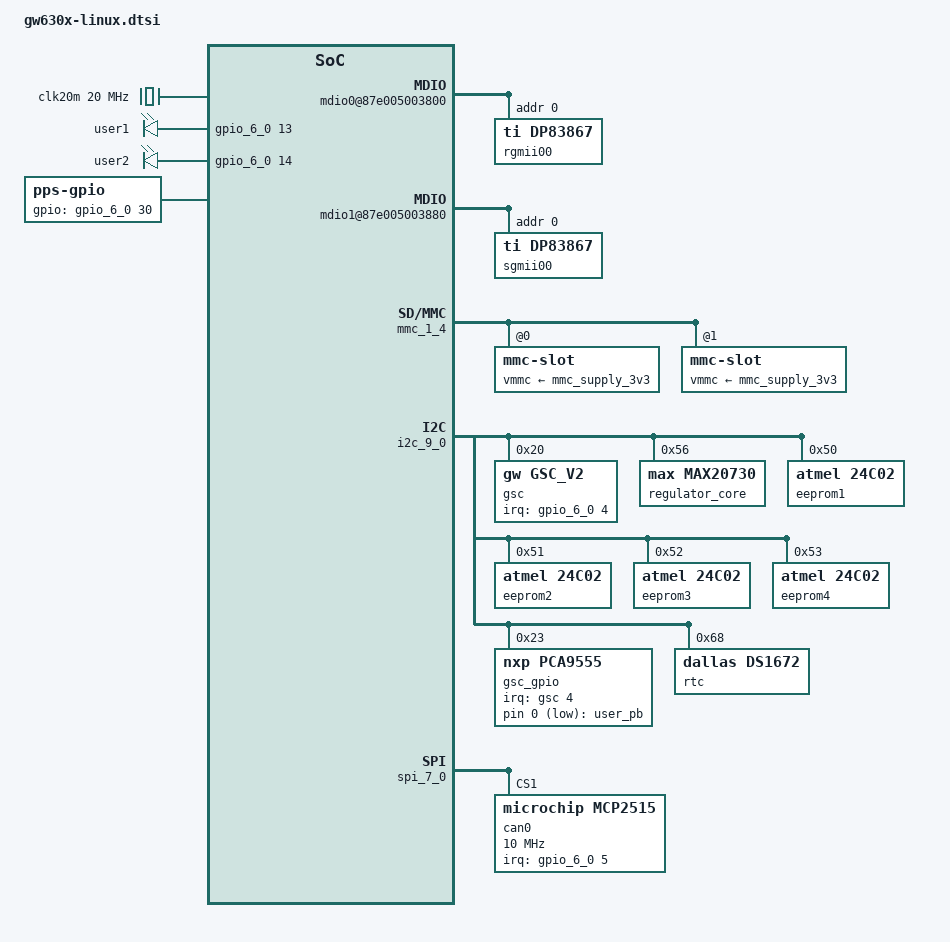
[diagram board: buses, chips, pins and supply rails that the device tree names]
/*
 * Copyright 2017 Gateworks Corporation
 *
 * This file is dual-licensed: you can use it either under the terms
 * of the GPL or the X11 license, at your option. Note that this dual
 * licensing only applies to this file, and not this project as a
 * whole.
 *
 *  a) This library is free software; you can redistribute it and/or
 *     modify it under the terms of the GNU General Public License as
 *     published by the Free Software Foundation; either version 2 of the
 *     License, or (at your option) any later version.
 *
 *     This library is distributed in the hope that it will be useful,
 *     but WITHOUT ANY WARRANTY; without even the implied warranty of
 *     MERCHANTABILITY or FITNESS FOR A PARTICULAR PURPOSE.  See the
 *     GNU General Public License for more details.
 *
 *     You should have received a copy of the GNU General Public
 *     License along with this library; if not, write to the Free
 *     Software Foundation, Inc., 51 Franklin St, Fifth Floor, Boston,
 *     MA 02110-1301 USA
 *
 * Or, alternatively,
 *
 *  b) Permission is hereby granted, free of charge, to any person
 *     obtaining a copy of this software and associated documentation
 *     files (the "Software"), to deal in the Software without
 *     restriction, including without limitation the rights to use,
 *     copy, modify, merge, publish, distribute, sublicense, and/or
 *     sell copies of the Software, and to permit persons to whom the
 *     Software is furnished to do so, subject to the following
 *     conditions:
 *
 *     The above copyright notice and this permission notice shall be
 *     included in all copies or substantial portions of the Software.
 *
 *     THE SOFTWARE IS PROVIDED "AS IS", WITHOUT WARRANTY OF ANY KIND,
 *     EXPRESS OR IMPLIED, INCLUDING BUT NOT LIMITED TO THE WARRANTIES
 *     OF MERCHANTABILITY, FITNESS FOR A PARTICULAR PURPOSE AND
 *     NONINFRINGEMENT. IN NO EVENT SHALL THE AUTHORS OR COPYRIGHT
 *     HOLDERS BE LIABLE FOR ANY CLAIM, DAMAGES OR OTHER LIABILITY,
 *     WHETHER IN AN ACTION OF CONTRACT, TORT OR OTHERWISE, ARISING
 *     FROM, OUT OF OR IN CONNECTION WITH THE SOFTWARE OR THE USE OR
 *     OTHER DEALINGS IN THE SOFTWARE.
 */

/include/ "cn81xx-linux.dtsi"

/ {
	clocks {
		compatible = "simple-bus";
		#address-cells = <1>;
		#size-cells = <0>;

		clk20m: clk@0 {
			compatible = "fixed-clock";
			reg = <0>;
			#clock-cells = <0>;
			clock-frequency = <20000000>;
		};
	};

	gpio_keys {
		compatible = "gpio-keys";
		#address-cells = <1>;
		#size-cells = <0>;

		user_pb {
			label = "user_pb";
			gpios = <&gsc_gpio 0 1>;
			linux,code = <256>; /* BTN_0 */
		};
	};

	leds {
		compatible = "gpio-leds";

		/* Bi-Color LED */
		led0: user1 {
			label = "user1"; /* GREEN */
			gpios = <&gpio_6_0 13 0>;
			default-state = "on";
			linux,default-trigger = "heartbeat";
		};

		led1: user2 {
			label = "user2"; /* RED */
			gpios = <&gpio_6_0 14 0>;
			default-state = "off";
		};
	};

	pps {
		compatible = "pps-gpio";
		gpios = <&gpio_6_0 30 0>;
	};
};

&mrml_bridge {
	/* CN8xxx MDIO */
	mdio-nexus@1,3 {
		/* MDIO0 */
		mdio0@87e005003800 {
			rgmii00: rgmii00 {
				reg = <0>; /* phy address */
				compatible = "ti,dp83867", "ethernet-phy-ieee802.3-c22";
				phy-mode = "rgmii-id";
				ti,rx-internal-delay = <0x7>; /* 2ns */
				ti,tx-internal-delay = <0x7>; /* 20ps */
				ti,fifo-depth = <3>; /* 0=3 1=4 2=6 3=8 */
			};
		};
		/* MDIO1 */
		mdio1@87e005003880 {
			sgmii00: sgmii@0 {
				qlm-mode = "0x000,sgmii";
				reg = <0>; /* phy address */
				compatible = "ti,dp83867", "ethernet-phy-ieee802.3-c22";
				ti,fifo-depth = <3>; /* 0=3 1=4 2=6 3=8 */
			};
		};
	};

	rgx0 {
		rgmii00 {
			reg = <0>;
			local-mac-address = [00 00 00 00 00 00];
			phy-handle = <&rgmii00>;
		};
	};

	/* DLM1 => SGMII (dp83867) */
	bgx0 {
		/* BGX0.0 */
		sgmii@0 {
			reg = <0>;
			qlm-mode = "0x000,sgmii";
			local-mac-address = [00 00 00 00 00 00];
			phy-handle = <&sgmii00>;
		};
	};
};

&mmc_1_4 {
	/* CMD0 placeholder */
	mmc-slot@0 {
		compatible = "mmc-slot";
		reg = <0>;
		vmmc-supply = <&mmc_supply_3v3>;
		max-frequency = <35000000>;
		/* 1.8v is not supported */
		no-1-8-v;
		/* No write-protect switch is present */
		disable-wp;
		/* no card detection available; polling must be used. */
		broken-cd;
		/* speed up device probing */
		no-sdio;
	};

	/* CMD1 placeholder */
	mmc-slot@1 {
		compatible = "mmc-slot";
		reg = <1>;
		vmmc-supply = <&mmc_supply_3v3>;
		max-frequency = <35000000>;
		/* 1.8v is not supported */
		no-1-8-v;
		/* No write-protect switch is present */
		disable-wp;
		/* no card detection available; polling must be used. */
		broken-cd;
		/* speed up device probing */
		no-sdio;
	};
};

/* TWSI0 */
&i2c_9_0 {
	gsc: gsc@20 {
		compatible = "gw,gsc_v2";
		reg = <0x20>;
		interrupt-parent = <&gpio_6_0>;
		interrupts = <4 1>;
		interrupt-controller;
		#interrupt-cells = <1>;

		gsc_hwmon {
			compatible = "gw,gsc-hwmon";
			#address-cells = <1>;
			#size-cells = <0>;

			hwmon@0 {
				type = <0>;
				reg = <0x00>;
				label = "temp";
			};

			hwmon@1 {
				type = <1>;
				reg = <0x02>;
				label = "Vin";
			};

			hwmon@2 {
				type = <1>;
				reg = <0x0b>;
				label = "VDD_5P0";
			};

			hwmon@3 {
				type = <1>;
				reg = <0x05>;
				label = "VDD_3P3";
			};

			hwmon@4 {
				type = <1>;
				reg = <0x1d>;
				label = "VDD_2P5";
			};

			hwmon@6 {
				type = <1>;
				reg = <0x0e>;
				label = "VDD_CORE";
			};

			hwmon@7 {
				type = <1>;
				reg = <0x11>;
				label = "VDD_0P9";
			};

			hwmon@8 {
				type = <1>;
				reg = <0x20>;
				label = "VDD_1P0";
			};

			hwmon@9 {
				type = <1>;
				reg = <0x17>;
				label = "VDD_1P2";
			};

			hwmon@12 {
				type = <1>;
				reg = <0x23>;
				label = "VDD_1P5";
			};

			hwmon@13 {
				type = <1>;
				reg = <0x26>;
				label = "VDD_1P8";
			};

			hwmon@14 {
				type = <1>;
				reg = <0x29>;
				label = "VDD_ANL1";
			};

			hwmon@15 {
				type = <1>;
				reg = <0x08>;
				label = "VDD_ANL2";
			};

			hwmon@16 { /* fan0 */
				type = <2>;
				reg = <0x2c>;
				label = "fan_50p";
			};

			hwmon@17 { /* fan1 */
				type = <2>;
				reg = <0x2e>;
				label = "fan_60p";
			};

			hwmon@18 { /* fan2 */
				type = <2>;
				reg = <0x30>;
				label = "fan_70p";
			};

			hwmon@19 { /* fan3 */
				type = <2>;
				reg = <0x32>;
				label = "fan_80p";
			};

			hwmon@20 { /* fan4 */
				type = <2>;
				reg = <0x34>;
				label = "fan_90p";
			};

			hwmon@21 { /* fan5 */
				type = <2>;
				reg = <0x36>;
				label = "fan_100p";
			};
		};
	};

	/* regulator */
	regulator_core: max20730-i2c@56 {
		compatible = "max,max20730";
		reg = <0x56>;
	};

	eeprom1: eeprom@50 {
		compatible = "atmel,24c02";
		reg = <0x50>;
		pagesize = <16>;
	};

	eeprom2: eeprom@51 {
		compatible = "atmel,24c02";
		reg = <0x51>;
		pagesize = <16>;
	};

	eeprom3: eeprom@52 {
		compatible = "atmel,24c02";
		reg = <0x52>;
		pagesize = <16>;
	};

	eeprom4: eeprom@53 {
		compatible = "atmel,24c02";
		reg = <0x53>;
		pagesize = <16>;
	};

	gsc_gpio: pca9555@23 {
		compatible = "nxp,pca9555";
		reg = <0x23>;
		gpio-controller;
		#gpio-cells = <2>;
		interrupt-parent = <&gsc>;
		interrupts = <4>;
	};

	rtc: ds1672@68 {
		compatible = "dallas,ds1672";
		reg = <0x68>;
	};
};

&spi_7_0 {
	can0: can@1 {
		compatible = "microchip,mcp2515";
		reg = <1>;
		clocks = <&clk20m>;
		interrupt-parent = <&gpio_6_0>;
		interrupts = <5 0x2>;
		spi-max-frequency = <10000000>;
	};
};
